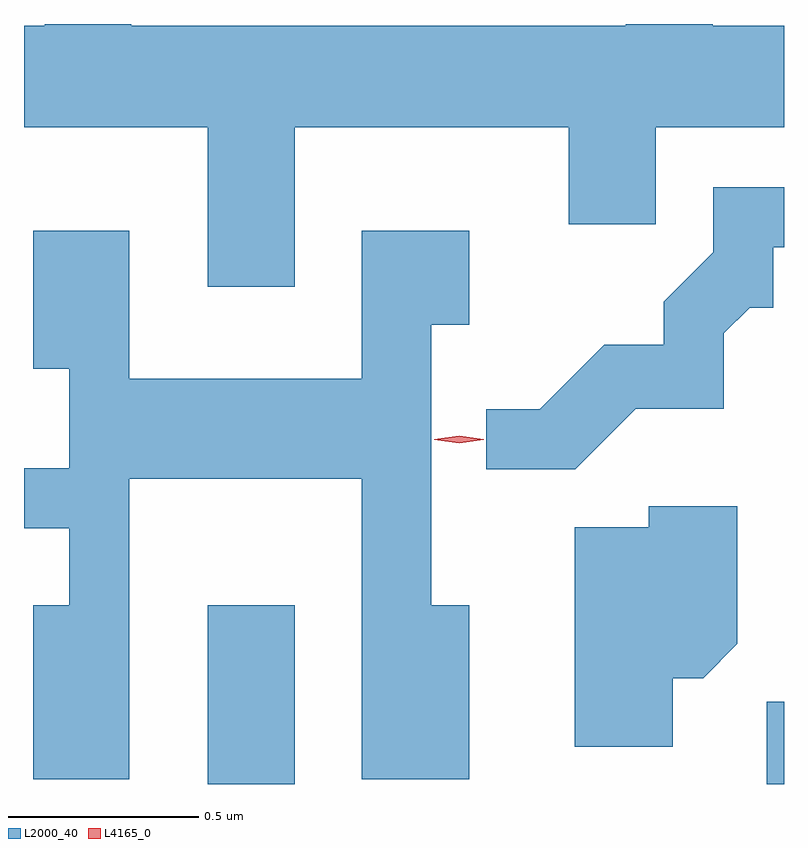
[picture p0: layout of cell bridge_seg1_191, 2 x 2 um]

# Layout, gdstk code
import gdstk
lib = gdstk.Library(unit=1e-6, precision=1e-09)
def R(c, l, rs):  # rectangles x0, y0, x1, y1
    for r in rs: c.add(gdstk.rectangle(r[:2], r[2:], *l))
def P(c, l, *ps):  # polygons
    for p in ps: c.add(gdstk.Polygon(p, *l))
L2000_40 = (2000, 40)
L4165_0 = (4165, 0)

bridge_seg1_191 = lib.new_cell('bridge_seg1_191')
R(bridge_seg1_191, L2000_40, [(705.661,960.008,705.889,960.479), (707.131,960.008,707.177,960.224)])
P(bridge_seg1_191, L2000_40, [(705.889,961.736),(706.611,961.736),(706.611,961.481),(706.839,961.481),(706.839,961.736),(707.177,961.736),(707.177,962.004),(706.989,962.004),(706.989,962.008),(706.761,962.008),(706.761,962.004),(705.459,962.004),(705.459,962.008),(705.231,962.008),(705.231,962.004),(705.177,962.004),(705.177,961.736),(705.661,961.736),(705.661,961.316),(705.889,961.316)],
  [(706.787,960.996),(707.019,960.996),(707.019,961.194),(707.087,961.261),(707.149,961.261),(707.149,961.421),(707.177,961.421),(707.177,961.579),(706.991,961.579),(706.991,961.407),(706.861,961.277),(706.861,961.164),(706.704,961.164),(706.534,960.994),(706.393,960.994),(706.393,960.836),(706.627,960.836)],
  [(705.454,960.811),(706.066,960.811),(706.066,960.021),(706.349,960.021),(706.349,960.479),(706.249,960.479),(706.249,961.216),(706.349,961.216),(706.349,961.464),(706.066,961.464),(706.066,961.074),(705.454,961.074),(705.454,961.464),(705.201,961.464),(705.201,961.101),(705.296,961.101),(705.296,960.839),(705.177,960.839),(705.177,960.681),(705.296,960.681),(705.296,960.479),(705.201,960.479),(705.201,960.021),(705.454,960.021)],
  [(706.884,960.286),(706.964,960.286),(707.054,960.377),(707.054,960.739),(706.821,960.739),(706.821,960.684),(706.626,960.684),(706.626,960.106),(706.884,960.106)])
P(bridge_seg1_191, L4165_0, [(706.322,960.905),(706.256,960.914),(706.256,960.915),(706.256,960.915),(706.322,960.925),(706.387,960.915),(706.387,960.915),(706.387,960.914)])

lib.write_gds('bridge_seg1_191.gds')
